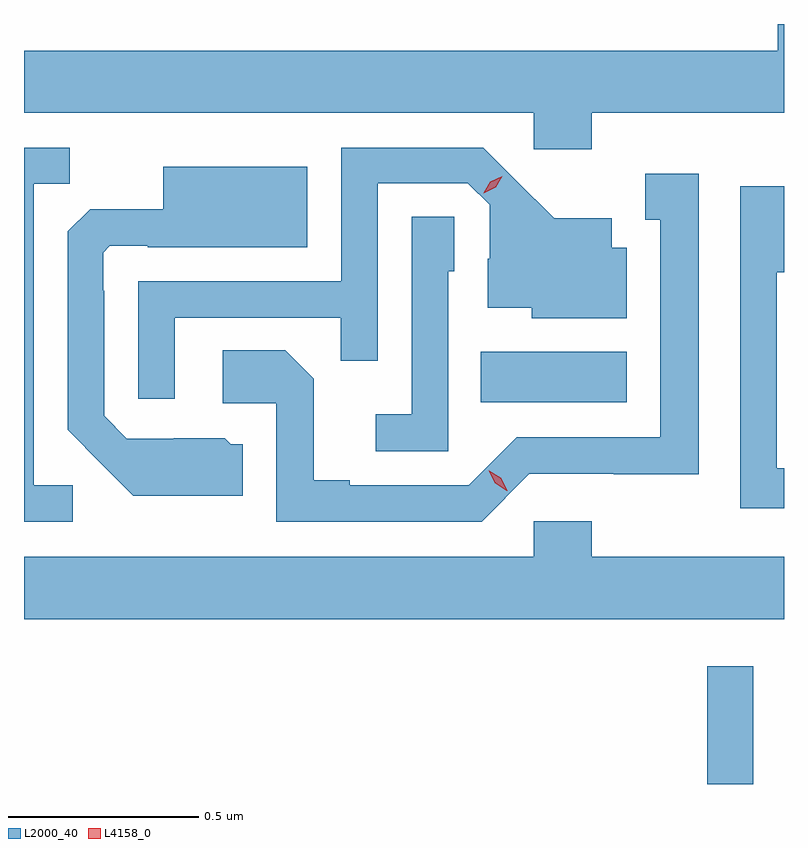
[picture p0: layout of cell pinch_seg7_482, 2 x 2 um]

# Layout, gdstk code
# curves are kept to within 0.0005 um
import gdstk
lib = gdstk.Library(unit=1e-6, precision=1e-09)
def R(c, l, rs):  # rectangles x0, y0, x1, y1
    for r in rs: c.add(gdstk.rectangle(r[:2], r[2:], *l))
def P(c, l, *ps):  # polygons
    for p in ps: c.add(gdstk.Polygon(p, *l))
L2000_40 = (2000, 40)
L4158_0 = (4158, 0)

pinch_seg7_482 = lib.new_cell('pinch_seg7_482')
R(pinch_seg7_482, L2000_40, [(198.792,1061.454,198.913,1061.764), (198.196,1062.458,198.58,1062.592)])
P(pinch_seg7_482, L2000_40, [(198.488,1063.22),(198.994,1063.22),(198.994,1063.454),(198.977,1063.454),(198.977,1063.384),(196.994,1063.384),(196.994,1063.22),(198.336,1063.22),(198.336,1063.125),(198.488,1063.125)],
  [(197.391,1062.681),(197.827,1062.681),(197.827,1062.568),(197.925,1062.568),(197.925,1063.035),(198.162,1063.035),(198.219,1062.978),(198.219,1062.836),(198.215,1062.836),(198.215,1062.707),(198.33,1062.707),(198.33,1062.68),(198.58,1062.68),(198.58,1062.865),(198.541,1062.865),(198.541,1062.943),(198.389,1062.943),(198.202,1063.128),(197.829,1063.128),(197.829,1062.777),(197.295,1062.777),(197.295,1062.468),(197.391,1062.468)],
  [(197.122,1062.24),(197.019,1062.24),(197.019,1063.033),(197.115,1063.033),(197.115,1063.128),(196.994,1063.128),(196.994,1062.144),(197.122,1062.144)],
  [(197.569,1062.348),(197.538,1062.348),(197.522,1062.364),(197.388,1062.364),(197.388,1062.363),(197.265,1062.363),(197.205,1062.423),(197.205,1062.752),(197.202,1062.752),(197.202,1062.852),(197.22,1062.87),(197.32,1062.87),(197.32,1062.866),(197.74,1062.866),(197.74,1063.078),(197.36,1063.078),(197.36,1062.967),(197.168,1062.967),(197.109,1062.908),(197.109,1062.386),(197.281,1062.212),(197.569,1062.212)],
  [(198.324,1062.27),(198.546,1062.27),(198.546,1062.269),(198.769,1062.269),(198.769,1063.06),(198.629,1063.06),(198.629,1062.939),(198.668,1062.939),(198.668,1062.366),(198.291,1062.366),(198.165,1062.24),(197.851,1062.24),(197.851,1062.253),(197.757,1062.253),(197.757,1062.52),(197.681,1062.596),(197.517,1062.596),(197.517,1062.456),(197.658,1062.456),(197.658,1062.144),(198.198,1062.144)],
  [(198.994,1062.285),(198.975,1062.285),(198.975,1062.801),(198.994,1062.801),(198.994,1063.027),(198.879,1063.027),(198.879,1062.18),(198.994,1062.18)],
  [(198.111,1062.804),(198.126,1062.804),(198.126,1062.947),(198.015,1062.947),(198.015,1062.427),(197.919,1062.427),(197.919,1062.33),(198.111,1062.33)],
  [(198.994,1062.052),(198.488,1062.052),(198.488,1062.145),(198.336,1062.145),(198.336,1062.052),(196.994,1062.052),(196.994,1061.888),(198.994,1061.888)])
P(pinch_seg7_482, L4158_0, [(198.265,1062.226),(198.234,1062.246),(198.217,1062.279),(198.217,1062.279),(198.218,1062.279),(198.249,1062.26),(198.266,1062.227),(198.266,1062.226)],
  [(198.204,1063.009),(198.204,1063.01),(198.221,1063.039),(198.252,1063.054),(198.252,1063.054),(198.252,1063.054),(198.235,1063.024),(198.204,1063.009)])

lib.write_gds('pinch_seg7_482.gds')
